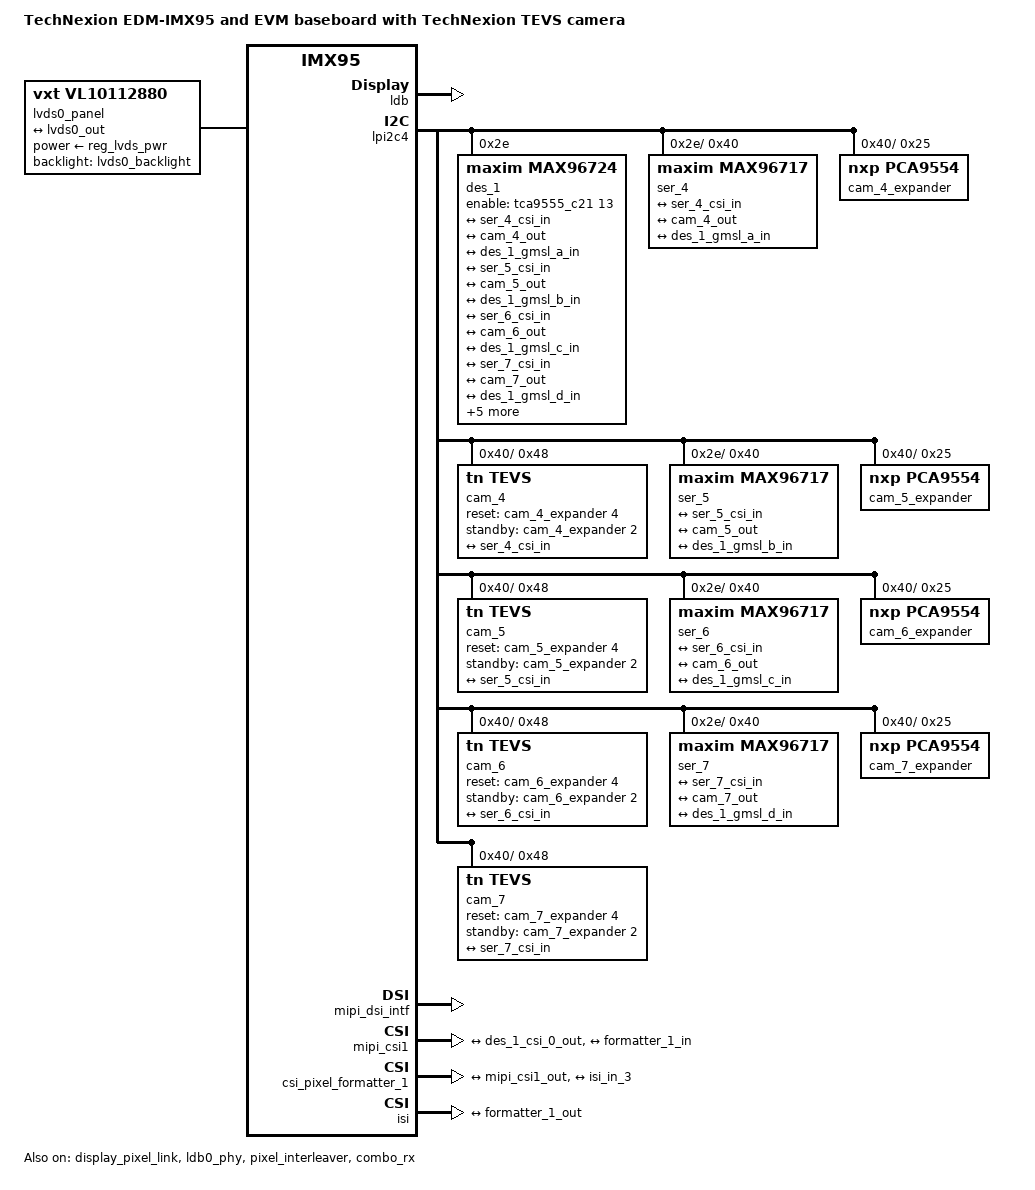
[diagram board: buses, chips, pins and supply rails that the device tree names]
// SPDX-License-Identifier: (GPL-2.0+ OR MIT)
/*
 * Copyright 2024 Technexion Ltd.
 *
 * Author: Richard Hu <richard.hu@technexion.com>
 *
 */

/dts-v1/;

#include "imx95-edm-evm.dts"

/ {
	model = "TechNexion EDM-IMX95 and EVM baseboard with TechNexion TEVS camera";
	compatible = "fsl,imx95-edm", "fsl,imx95";

	reg_lvds_pwr: regulator-lvds-pwr {	/* LVDS0_VDDEN */
		status = "okay";
	};

	lvds0_backlight: backlight {
		status = "okay";
	};

	lvds0_panel {
		compatible = "vxt,vl10112880", "panel-lvds";
		backlight = <&lvds0_backlight>;
		power-supply = <&reg_lvds_pwr>;
		data-mapping = "vesa-24";
		height-mm = <161>;
		width-mm = <243>;
		panel-timing {
			clock-frequency = <71100000>;
			hactive = <1280>;
			vactive = <800>;
			hback-porch = <40>;
			hfront-porch = <40>;
			vback-porch = <10>;
			vfront-porch = <3>;
			hsync-len = <80>;
			vsync-len = <10>;
			de-active = <1>;
		};
		port {
			panel_in: endpoint {
				remote-endpoint = <&lvds0_out>;
			};
		};
	};
};

&display_pixel_link {
	status = "okay";
};

&ldb {
	#address-cells = <1>;
	#size-cells = <0>;
	assigned-clocks = <&scmi_clk IMX95_CLK_LDBPLL_VCO>,
			  <&scmi_clk IMX95_CLK_LDBPLL>;
	assigned-clock-rates = <2986200000>, <497700000>;
	status = "okay";

	channel@0 {
		#address-cells = <1>;
		#size-cells = <0>;
		reg = <0>;
		status = "okay";

		port@1 {
			reg = <1>;

			lvds0_out: endpoint {
				remote-endpoint = <&panel_in>;
			};
		};
	};
};

&ldb0_phy {
	status = "okay";
};

&pixel_interleaver {
	#address-cells = <1>;
	#size-cells = <0>;
	status = "okay";

	channel@0 {
		reg = <0>;
		status = "okay";
	};
};

/* VLS-GM2 on MIPI CSI1 */
&lpi2c4 {
	#address-cells = <1>;
	#size-cells = <0>;
	status = "okay";

	des_1: max96724@2e {
		compatible = "maxim,max96724";
		reg = <0x2e>;
		status = "okay";

		#address-cells = <1>;
		#size-cells = <0>;

		enable-gpios = <&tca9555_c21 13 GPIO_ACTIVE_HIGH>;

		i2c-alias-pool = <0x41 0x42 0x43 0x44>;

		i2c-atr {
			#address-cells = <1>;
			#size-cells = <0>;

			des_1_i2c_0: i2c@0 {
				#address-cells = <1>;
				#size-cells = <0>;
				reg = <0>;
			};

			des_1_i2c_1: i2c@1 {
				#address-cells = <1>;
				#size-cells = <0>;
				reg = <1>;
			};

			des_1_i2c_2: i2c@2 {
				#address-cells = <1>;
				#size-cells = <0>;
				reg = <2>;
			};

			des_1_i2c_3: i2c@3 {
				#address-cells = <1>;
				#size-cells = <0>;
				reg = <3>;
			};
		};

		ports {
			#address-cells = <1>;
			#size-cells = <0>;

			port@0 {
				#address-cells = <1>;
				#size-cells = <0>;
				reg = <0>;

				des_1_gmsl_a_in: endpoint@0 {
					remote-endpoint = <&ser_4_gmsl_out>;
				};
			};

			port@1 {
				#address-cells = <1>;
				#size-cells = <0>;
				reg = <1>;

				des_1_gmsl_b_in: endpoint@0 {
					remote-endpoint = <&ser_5_gmsl_out>;
				};
			};

			port@2 {
				#address-cells = <1>;
				#size-cells = <0>;
				reg = <2>;

				des_1_gmsl_c_in: endpoint@0 {
					remote-endpoint = <&ser_6_gmsl_out>;
				};
			};

			port@3 {
				#address-cells = <1>;
				#size-cells = <0>;
				reg = <3>;

				des_1_gmsl_d_in: endpoint@0 {
					remote-endpoint = <&ser_7_gmsl_out>;
				};
			};

			port@4 {
				#address-cells = <1>;
				#size-cells = <0>;
				reg = <4>;

				des_1_csi_0_out: endpoint@0 {
					data-lanes = <1 2 3 4>;
					clock-lanes = <0>;
					bus-type = <4>;
					link-frequencies = /bits/ 64 <800000000>;
					remote-endpoint = <&mipi_csi1_ep>;
				};
			};
		};
	};
};

&des_1_i2c_0 {
	ser_4: serializer@40 {
		compatible = "maxim,max96717";
		reg = <0x40>;

		gpio-controller;
		#gpio-cells = <2>;
		#clock-cells = <0>;

		i2c-alias-pool = <0x29 0x49>;

		pinctrl-names = "default";
		pinctrl-0 = <&ser_4_fsync>;

		ser_4_fsync: mfp0-pins {
			pins = "mfp0";
			function = "gpio";
			maxim,rx-id = <0>;
			output-enable;
			output-low;
		};

		i2c-atr {
			#address-cells = <1>;
			#size-cells = <0>;

			i2c@0 {
				#address-cells = <1>;
				#size-cells = <0>;
				reg = <0>;

				cam_4_expander: pca9554@25 {
					compatible = "nxp,pca9554";
					reg = <0x25>;
					gpio-controller;
					#gpio-cells = <2>;
					gpio-line-names = "EXPOSURE_TRIG_IN",
									"FLASH_OUT",
									"INFO_TRIG_IN",
									"CAMA_SHUTTER",
									"CSI_P1_nRST",
									"PWR_TIME0",
									"PWR_TIME1",
									"3V3_EN";
					status = "okay";
				};

				cam_4: tevs@48 {
					compatible = "tn,tevs";
					reg = <0x48>;
					status = "okay";

					reset-gpios = <&cam_4_expander 4 GPIO_ACTIVE_HIGH>;
					standby-gpios = <&cam_4_expander 2 GPIO_ACTIVE_HIGH>;

					data-lanes = <4>;
					data-frequency = <400>;
					continuous-clock = <0>;

					port {
						cam_4_out: endpoint {
							remote-endpoint = <&ser_4_csi_in>;
							data-lanes = <1 2 3 4>;
							clock-lanes = <0>;
						};
					};
				};
			};
		};

		ports {
			#address-cells = <1>;
			#size-cells = <0>;

			port@0 {
				#address-cells = <1>;
				#size-cells = <0>;
				reg = <0>;
				ser_4_csi_in: endpoint {
					data-lanes = <1 2 3 4>;
					clock-noncontinuous;
					remote-endpoint = <&cam_4_out>;
				};
			};

			port@1 {
				reg = <1>;
				ser_4_gmsl_out: endpoint {
					remote-endpoint = <&des_1_gmsl_a_in>;
				};
			};
		};
	};
};

&des_1_i2c_1 {
	ser_5: serializer@40 {
		compatible = "maxim,max96717";
		reg = <0x40>;

		gpio-controller;
		#gpio-cells = <2>;
		#clock-cells = <0>;

		i2c-alias-pool = <0x2a 0x4a>;

		pinctrl-names = "default";
		pinctrl-0 = <&ser_5_fsync>;

		ser_5_fsync: mfp0-pins {
			pins = "mfp0";
			function = "gpio";
			maxim,rx-id = <0>;
			output-enable;
			output-low;
		};

		i2c-atr {
			#address-cells = <1>;
			#size-cells = <0>;

			i2c@0 {
				#address-cells = <1>;
				#size-cells = <0>;
				reg = <0>;

				cam_5_expander: pca9554@25 {
					compatible = "nxp,pca9554";
					reg = <0x25>;
					gpio-controller;
					#gpio-cells = <2>;
					gpio-line-names = "EXPOSURE_TRIG_IN",
									"FLASH_OUT",
									"INFO_TRIG_IN",
									"CAMA_SHUTTER",
									"CSI_P1_nRST",
									"PWR_TIME0",
									"PWR_TIME1",
									"3V3_EN";
					status = "okay";
				};

				cam_5: tevs@48 {
					compatible = "tn,tevs";
					reg = <0x48>;
					status = "okay";

					reset-gpios = <&cam_5_expander 4 GPIO_ACTIVE_HIGH>;
					standby-gpios = <&cam_5_expander 2 GPIO_ACTIVE_HIGH>;

					data-lanes = <4>;
					data-frequency = <400>;
					continuous-clock = <0>;

					port {
						cam_5_out: endpoint {
							remote-endpoint = <&ser_5_csi_in>;
							data-lanes = <1 2 3 4>;
							clock-lanes = <0>;
						};
					};
				};
			};
		};

		ports {
			#address-cells = <1>;
			#size-cells = <0>;

			port@0 {
				reg = <0>;
				ser_5_csi_in: endpoint {
					data-lanes = <1 2 3 4>;
					clock-noncontinuous;
					remote-endpoint = <&cam_5_out>;
				};
			};

			port@1 {
				reg = <1>;
				ser_5_gmsl_out: endpoint {
					remote-endpoint = <&des_1_gmsl_b_in>;
				};
			};
		};
	};
};

&des_1_i2c_2 {
	ser_6: serializer@40 {
		compatible = "maxim,max96717";
		reg = <0x40>;

		gpio-controller;
		#gpio-cells = <2>;
		#clock-cells = <0>;

		i2c-alias-pool = <0x2b 0x4b>;

		pinctrl-names = "default";
		pinctrl-0 = <&ser_6_fsync>;

		ser_6_fsync: mfp0-pins {
			pins = "mfp0";
			function = "gpio";
			maxim,rx-id = <0>;
			output-enable;
			output-low;
		};

		i2c-atr {
			#address-cells = <1>;
			#size-cells = <0>;

			i2c@0 {
				#address-cells = <1>;
				#size-cells = <0>;
				reg = <0>;

				cam_6_expander: pca9554@25 {
					compatible = "nxp,pca9554";
					reg = <0x25>;
					gpio-controller;
					#gpio-cells = <2>;
					gpio-line-names = "EXPOSURE_TRIG_IN",
									"FLASH_OUT",
									"INFO_TRIG_IN",
									"CAMA_SHUTTER",
									"CSI_P1_nRST",
									"PWR_TIME0",
									"PWR_TIME1",
									"3V3_EN";
					status = "okay";
				};

				cam_6: tevs@48 {
					compatible = "tn,tevs";
					reg = <0x48>;
					status = "okay";

					reset-gpios = <&cam_6_expander 4 GPIO_ACTIVE_HIGH>;
					standby-gpios = <&cam_6_expander 2 GPIO_ACTIVE_HIGH>;

					data-lanes = <4>;
					data-frequency = <400>;
					continuous-clock = <0>;

					port {
						cam_6_out: endpoint {
							remote-endpoint = <&ser_6_csi_in>;
							data-lanes = <1 2 3 4>;
							clock-lanes = <0>;
						};
					};
				};
			};
		};

		ports {
			#address-cells = <1>;
			#size-cells = <0>;

			port@0 {
				reg = <0>;
				ser_6_csi_in: endpoint {
					data-lanes = <1 2 3 4>;
					clock-noncontinuous;
					remote-endpoint = <&cam_6_out>;
				};
			};

			port@1 {
				reg = <1>;
				ser_6_gmsl_out: endpoint {
					remote-endpoint = <&des_1_gmsl_c_in>;
				};
			};
		};
	};
};

&des_1_i2c_3 {
	ser_7: serializer@40 {
		compatible = "maxim,max96717";
		reg = <0x40>;

		gpio-controller;
		#gpio-cells = <2>;
		#clock-cells = <0>;

		i2c-alias-pool = <0x2c 0x4c>;

		pinctrl-names = "default";
		pinctrl-0 = <&ser_7_fsync>;

		ser_7_fsync: mfp0-pins {
			pins = "mfp0";
			function = "gpio";
			maxim,rx-id = <0>;
			output-enable;
			output-low;
		};

		i2c-atr {
			#address-cells = <1>;
			#size-cells = <0>;

			i2c@0 {
				#address-cells = <1>;
				#size-cells = <0>;
				reg = <0>;

				cam_7_expander: pca9554@25 {
					compatible = "nxp,pca9554";
					reg = <0x25>;
					gpio-controller;
					#gpio-cells = <2>;
					gpio-line-names = "EXPOSURE_TRIG_IN",
									"FLASH_OUT",
									"INFO_TRIG_IN",
									"CAMA_SHUTTER",
									"CSI_P1_nRST",
									"PWR_TIME0",
									"PWR_TIME1",
									"3V3_EN";
					status = "okay";
				};

				cam_7: tevs@48 {
					compatible = "tn,tevs";
					reg = <0x48>;
					status = "okay";

					reset-gpios = <&cam_7_expander 4 GPIO_ACTIVE_HIGH>;
					standby-gpios = <&cam_7_expander 2 GPIO_ACTIVE_HIGH>;

					data-lanes = <4>;
					data-frequency = <400>;
					continuous-clock = <0>;

					port {
						cam_7_out: endpoint {
							remote-endpoint = <&ser_7_csi_in>;
							data-lanes = <1 2 3 4>;
							clock-lanes = <0>;
						};
					};
				};
			};
		};

		ports {
			#address-cells = <1>;
			#size-cells = <0>;

			port@0 {
				reg = <0>;
				ser_7_csi_in: endpoint {
					data-lanes = <1 2 3 4>;
					clock-noncontinuous;
					remote-endpoint = <&cam_7_out>;
				};
			};

			port@1 {
				reg = <1>;
				ser_7_gmsl_out: endpoint {
					remote-endpoint = <&des_1_gmsl_d_in>;
				};
			};
		};
	};
};

&display_stream_csr {
	status = "disabled";
};

&display_master_csr {
	status = "disabled";
};

&mipi_tx_phy_csr {
	status = "disabled";
};

&mipi_dsi_intf {
	status = "okay";
};

&combo_rx {
	status = "okay";
};

&mipi_csi1 {
	status = "okay";

	ports {
		#address-cells = <1>;
		#size-cells = <0>;

		port@0 {
			reg = <0>;
			mipi_csi1_ep: endpoint {
				remote-endpoint = <&des_1_csi_0_out>;
				data-lanes = <1 2 3 4>;
				clock-lanes = <0>;
			};
		};

		port@1 {
			reg = <1>;
			mipi_csi1_out: endpoint {
				remote-endpoint = <&formatter_1_in>;
			};
		};
	};
};

&csi_pixel_formatter_1 {
	status = "okay";

	ports {
		#address-cells = <1>;
		#size-cells = <0>;

		port@0 {
			reg = <0>;

			formatter_1_in: endpoint {
				remote-endpoint = <&mipi_csi1_out>;
			};
		};

		port@1 {
			reg = <1>;

			formatter_1_out: endpoint {
				remote-endpoint = <&isi_in_3>;
			};
		};
	};
};

&isi {
	status = "okay";

	ports {
		#address-cells = <1>;
		#size-cells = <0>;

		port@3 {
			reg = <3>;

			isi_in_3: endpoint {
				remote-endpoint = <&formatter_1_out>;
			};
		};
	};
};
